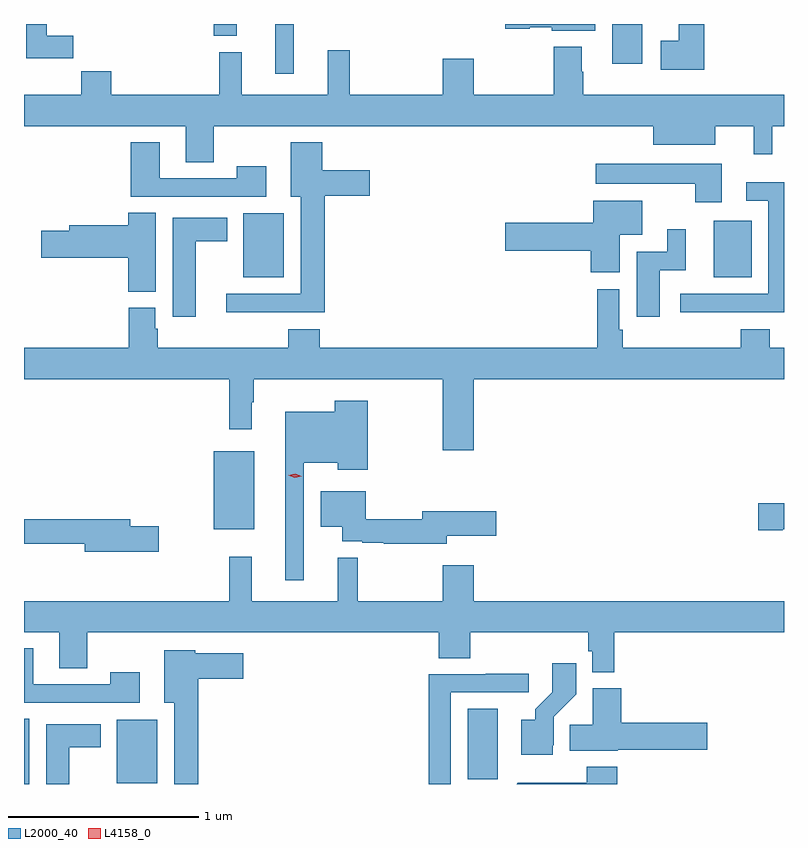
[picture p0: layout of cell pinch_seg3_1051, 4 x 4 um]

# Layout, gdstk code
import gdstk
lib = gdstk.Library(unit=1e-6, precision=1e-09)
def R(c, l, rs):  # rectangles x0, y0, x1, y1
    for r in rs: c.add(gdstk.rectangle(r[:2], r[2:], *l))
def P(c, l, *ps):  # polygons
    for p in ps: c.add(gdstk.Polygon(p, *l))
L2000_40 = (2000, 40)
L4158_0 = (4158, 0)

pinch_seg3_1051 = lib.new_cell('pinch_seg3_1051')
R(pinch_seg3_1051, L2000_40, [(318.648,706.777,318.676,707.12), (319.136,706.781,319.348,707.116), (320.984,706.803,321.142,707.174), (319.646,708.119,319.861,708.529), (319.802,709.445,320.014,709.78), (322.277,709.445,322.477,709.741), (319.971,710.514,320.068,710.777), (321.743,710.568,321.901,710.777), (319.646,710.714,319.768,710.777)])
P(pinch_seg3_1051, L2000_40, [(322.229,710.777),(322.094,710.777),(322.094,710.689),(321.999,710.689),(321.999,710.537),(322.229,710.537)],
  [(321.655,710.777),(321.18,710.777),(321.18,710.752),(321.309,710.752),(321.309,710.759),(321.426,710.759),(321.426,710.741),(321.655,710.741)],
  [(318.908,710.716),(318.769,710.716),(318.769,710.777),(318.659,710.777),(318.659,710.598),(318.908,710.598)],
  [(321.959,710.141),(322.285,710.141),(322.285,710.24),(322.49,710.24),(322.49,710.091),(322.587,710.091),(322.587,710.24),(322.648,710.24),(322.648,710.404),(321.591,710.404),(321.591,710.525),(321.583,710.525),(321.583,710.656),(321.436,710.656),(321.436,710.404),(321.016,710.404),(321.016,710.593),(320.852,710.593),(320.852,710.404),(320.363,710.404),(320.363,710.638),(320.246,710.638),(320.246,710.404),(319.793,710.404),(319.793,710.629),(319.675,710.629),(319.675,710.404),(319.106,710.404),(319.106,710.528),(318.949,710.528),(318.949,710.404),(318.648,710.404),(318.648,710.24),(319.499,710.24),(319.499,710.05),(319.647,710.05),(319.647,710.24),(321.959,710.24)],
  [(320.231,709.874),(320.467,709.874),(320.467,710.008),(320.218,710.008),(320.218,710.155),(320.051,710.155),(320.051,709.868),(320.105,709.868),(320.105,709.356),(319.713,709.356),(319.713,709.259),(320.231,709.259)],
  [(319.924,710.029),(319.768,710.029),(319.768,709.965),(319.363,709.965),(319.363,710.155),(319.211,710.155),(319.211,709.869),(319.924,709.869)],
  [(322.321,710.041),(321.657,710.041),(321.657,709.937),(322.181,709.937),(322.181,709.839),(322.321,709.839)],
  [(322.337,709.26),(322.648,709.26),(322.648,709.945),(322.449,709.945),(322.449,709.848),(322.566,709.848),(322.566,709.356),(322.101,709.356),(322.101,709.259),(322.337,709.259)],
  [(321.784,709.667),(321.901,709.667),(321.901,709.846),(321.644,709.846),(321.644,709.73),(321.18,709.73),(321.18,709.583),(321.632,709.583),(321.632,709.47),(321.784,709.47)],
  [(319.342,709.784),(319.196,709.784),(319.196,709.718),(318.887,709.718),(318.887,709.688),(318.738,709.688),(318.738,709.546),(319.196,709.546),(319.196,709.369),(319.342,709.369)],
  [(319.552,709.634),(319.717,709.634),(319.717,709.756),(319.43,709.756),(319.43,709.236),(319.552,709.236)],
  [(321.994,709.482),(322.132,709.482),(322.132,709.696),(322.034,709.696),(322.034,709.578),(321.872,709.578),(321.872,709.236),(321.994,709.236)],
  [(321.016,708.908),(322.648,708.908),(322.648,709.072),(322.573,709.072),(322.573,709.171),(322.421,709.171),(322.421,709.072),(321.8,709.072),(321.8,709.168),(321.78,709.168),(321.78,709.381),(321.664,709.381),(321.664,709.072),(320.204,709.072),(320.204,709.171),(320.039,709.171),(320.039,709.072),(319.352,709.072),(319.352,709.173),(319.339,709.173),(319.339,709.284),(319.199,709.284),(319.199,709.072),(318.648,709.072),(318.648,708.908),(319.729,708.908),(319.729,708.645),(319.846,708.645),(319.846,708.785),(319.858,708.785),(319.858,708.908),(320.852,708.908),(320.852,708.534),(321.016,708.534)],
  [(320.121,708.467),(320.3,708.467),(320.3,708.431),(320.458,708.431),(320.458,708.793),(320.283,708.793),(320.283,708.736),(320.024,708.736),(320.024,707.85),(320.121,707.85)],
  [(320.872,708.083),(321.133,708.083),(321.133,708.213),(320.744,708.213),(320.744,708.17),(320.446,708.17),(320.446,708.319),(320.21,708.319),(320.21,708.131),(320.324,708.131),(320.324,708.054),(320.428,708.054),(320.428,708.047),(320.542,708.047),(320.542,708.042),(320.872,708.042)],
  [(322.641,708.119),(322.648,708.119),(322.648,708.254),(322.512,708.254),(322.512,708.112),(322.641,708.112)],
  [(319.357,708.134),(319.207,708.134),(319.207,708.17),(318.648,708.17),(318.648,708.042),(318.968,708.042),(318.968,707.999),(319.357,707.999)],
  [(321.755,707.576),(322.648,707.576),(322.648,707.74),(321.016,707.74),(321.016,707.929),(320.852,707.929),(320.852,707.74),(320.405,707.74),(320.405,707.969),(320.3,707.969),(320.3,707.74),(319.847,707.74),(319.847,707.974),(319.729,707.974),(319.729,707.74),(318.648,707.74),(318.648,707.576),(318.833,707.576),(318.833,707.386),(318.981,707.386),(318.981,707.576),(320.831,707.576),(320.831,707.44),(320.996,707.44),(320.996,707.576),(321.619,707.576),(321.619,707.475),(321.639,707.475),(321.639,707.366),(321.755,707.366)],
  [(319.258,707.365),(319.102,707.365),(319.102,707.301),(318.697,707.301),(318.697,707.491),(318.648,707.491),(318.648,707.205),(319.258,707.205)],
  [(319.565,707.33),(319.801,707.33),(319.801,707.464),(319.548,707.464),(319.548,707.482),(319.385,707.482),(319.385,707.204),(319.439,707.204),(319.439,706.777),(319.565,706.777)],
  [(321.43,706.98),(321.435,706.98),(321.435,707.131),(321.554,707.25),(321.554,707.413),(321.429,707.413),(321.429,707.261),(321.338,707.171),(321.338,707.116),(321.266,707.116),(321.266,706.931),(321.43,706.931)],
  [(320.895,707.259),(321.304,707.259),(321.304,707.358),(321.079,707.358),(321.079,707.355),(320.779,707.355),(320.779,706.777),(320.895,706.777)],
  [(321.774,706.958),(322.243,706.958),(322.243,707.1),(321.791,707.1),(321.791,707.281),(321.641,707.281),(321.641,707.09),(321.52,707.09),(321.52,706.952),(321.774,706.952)],
  [(318.886,706.97),(319.051,706.97),(319.051,707.092),(318.764,707.092),(318.764,706.777),(318.886,706.777)],
  [(321.77,706.867),(321.61,706.867),(321.61,706.783),(321.247,706.783),(321.241,706.777),(321.77,706.777)])
P(pinch_seg3_1051, L4158_0, [(320.074,708.389),(320.039,708.401),(320.039,708.401),(320.039,708.401),(320.075,708.409),(320.11,708.398),(320.111,708.398),(320.11,708.398)])

lib.write_gds('pinch_seg3_1051.gds')
